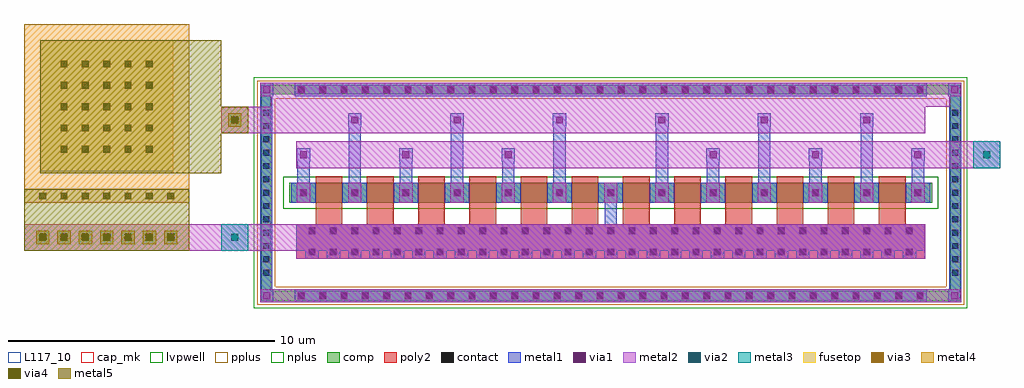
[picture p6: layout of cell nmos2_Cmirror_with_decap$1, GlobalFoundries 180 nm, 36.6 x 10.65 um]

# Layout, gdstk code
import gdstk
lib = gdstk.Library(unit=1e-6, precision=5e-09)
def R(c, l, rs):  # rectangles x0, y0, x1, y1
    for r in rs: c.add(gdstk.rectangle(r[:2], r[2:], *l))
def A(c, l, x, y, w, h, nx, ny, dx, dy):  # array of equal rectangles
    R(c, l, [(x+i*dx, y+j*dy, x+i*dx+w, y+j*dy+h) for i in range(nx) for j in range(ny)])
def P(c, l, *ps):  # polygons
    for p in ps: c.add(gdstk.Polygon(p, *l))
comp = (22, 0)
poly2 = (30, 0)
pplus = (31, 0)
nplus = (32, 0)
contact = (33, 0)
metal1 = (34, 0)
via1 = (35, 0)
metal2 = (36, 0)
via2 = (38, 0)
via3 = (40, 0)
via4 = (41, 0)
metal3 = (42, 0)
metal4 = (46, 0)
fusetop = (75, 0)
metal5 = (81, 0)
cap_mk = (117, 5)
L117_10 = (117, 10)
lvpwell = (204, 0)

cmirror_interdigitized_2 = lib.new_cell('cmirror_interdigitized$2')
A(cmirror_interdigitized_2, comp, -11.78, -4.045, 0.36, 0.36, 30, 2, 0.8, 7.73)
A(cmirror_interdigitized_2, comp, -13.1, -3.18, 0.36, 0.36, 1, 13, 0, 0.5)
A(cmirror_interdigitized_2, comp, 12.74, -3.18, 0.36, 0.36, 1, 13, 0, 0.5)
R(cmirror_interdigitized_2, comp, [(-11.78,-4.045,11.78,-3.685), (-13.1,-3.18,-12.74,3.18), (12.74,-3.18,13.1,3.18), (-12.05,-0.375,12.05,0.375), (-11.78,3.685,11.78,4.045)])
P(cmirror_interdigitized_2, comp, [(-13.1,-4.045),(-13.1,-3.685),(12.74,-3.685),(12.74,3.685),(-12.74,3.685),(-12.74,-3.685),(-13.1,-3.685),(-13.1,4.045),(13.1,4.045),(13.1,-4.045)])
A(cmirror_interdigitized_2, poly2, -11.38, -2.405, 0.36, 0.36, 29, 2, 0.8, 0.8)
A(cmirror_interdigitized_2, poly2, -11.06, -1.18, 1, 0.565, 12, 1, 1.92, 0)
A(cmirror_interdigitized_2, poly2, -11.06, -0.615, 1, 1.23, 12, 1, 1.92, 0)
R(cmirror_interdigitized_2, poly2, [(-11.8,-2.475,11.8,-1.175)])
P(cmirror_interdigitized_2, pplus, [(-13.26,-4.205),(-13.26,-3.525),(12.58,-3.525),(12.58,3.525),(-12.58,3.525),(-12.58,-3.525),(-13.26,-3.525),(-13.26,4.205),(13.26,4.205),(13.26,-4.205)])
R(cmirror_interdigitized_2, nplus, [(-12.28,-0.605,12.28,0.605)])
A(cmirror_interdigitized_2, contact, -11.71, -3.975, 0.22, 0.22, 30, 2, 0.8, 7.73)
A(cmirror_interdigitized_2, contact, -13.03, -3.11, 0.22, 0.22, 1, 13, 0, 0.5)
A(cmirror_interdigitized_2, contact, 12.81, -3.11, 0.22, 0.22, 1, 13, 0, 0.5)
A(cmirror_interdigitized_2, contact, -11.31, -2.335, 0.22, 0.22, 29, 2, 0.8, 0.8)
A(cmirror_interdigitized_2, contact, -11.63, -0.11, 0.22, 0.22, 13, 1, 1.92, 0)
A(cmirror_interdigitized_2, metal1, -11.85, -4.115, 0.5, 0.5, 30, 2, 0.8, 7.73)
A(cmirror_interdigitized_2, metal1, -13.15, -3.23, 0.46, 0.46, 1, 13, 0, 0.5)
A(cmirror_interdigitized_2, metal1, 12.69, -3.23, 0.46, 0.46, 1, 13, 0, 0.5)
A(cmirror_interdigitized_2, metal1, -11.45, -2.475, 0.5, 0.5, 29, 2, 0.8, 0.8)
A(cmirror_interdigitized_2, metal1, -11.98, -0.375, 0.92, 0.75, 13, 1, 1.92, 0)
A(cmirror_interdigitized_2, metal1, -11.75, -0.23, 0.46, 0.46, 13, 1, 1.92, 0)
A(cmirror_interdigitized_2, metal1, -11.75, 0.375, 0.46, 1.3, 3, 1, 3.84, 0)
A(cmirror_interdigitized_2, metal1, -9.83, 0.375, 0.46, 2.6, 6, 1, 3.84, 0)
A(cmirror_interdigitized_2, metal1, 3.61, 0.375, 0.46, 1.3, 3, 1, 3.84, 0)
A(cmirror_interdigitized_2, metal1, -11.77, 1.175, 0.5, 0.5, 3, 1, 3.84, 0)
A(cmirror_interdigitized_2, metal1, 3.59, 1.175, 0.5, 0.5, 3, 1, 3.84, 0)
A(cmirror_interdigitized_2, metal1, -9.85, 2.475, 0.5, 0.5, 6, 1, 3.84, 0)
R(cmirror_interdigitized_2, metal1, [(-13.15,-4.115,-12.65,-3.615), (-13.15,-4.115,-12.65,-3.615), (-13.15,-4.115,-12.69,-3.685), (-11.85,-4.115,11.85,-3.615), (12.65,-4.115,13.15,-3.615), (12.65,-4.115,13.15,-3.615), (12.69,-4.115,13.15,-3.685), (-13.15,-3.685,-12.69,3.685), (12.69,-3.685,13.15,3.685), (-11.8,-2.175,11.8,-1.175), (-0.23,-1.175,0.23,-0.375), (-11.77,-0.25,-11.27,0.25), (-11.77,-0.25,-11.27,0.25), (-9.85,-0.25,-9.35,0.25), (-9.85,-0.25,-9.35,0.25), (-7.93,-0.25,-7.43,0.25), (-7.93,-0.25,-7.43,0.25), (-6.01,-0.25,-5.51,0.25), (-6.01,-0.25,-5.51,0.25), (-4.09,-0.25,-3.59,0.25), (-4.09,-0.25,-3.59,0.25), (-2.17,-0.25,-1.67,0.25), (-2.17,-0.25,-1.67,0.25), (-0.25,-0.25,0.25,0.25), (-0.25,-0.25,0.25,0.25), (1.67,-0.25,2.17,0.25), (1.67,-0.25,2.17,0.25), (3.59,-0.25,4.09,0.25), (3.59,-0.25,4.09,0.25), (5.51,-0.25,6.01,0.25), (5.51,-0.25,6.01,0.25), (7.43,-0.25,7.93,0.25), (7.43,-0.25,7.93,0.25), (9.35,-0.25,9.85,0.25), (9.35,-0.25,9.85,0.25), (11.27,-0.25,11.77,0.25), (11.27,-0.25,11.77,0.25), (-13.15,3.615,-12.65,4.115), (-13.15,3.615,-12.65,4.115), (-11.85,3.615,11.85,4.115), (12.65,3.615,13.15,4.115), (12.65,3.615,13.15,4.115), (-13.15,3.685,-12.69,4.115), (12.69,3.685,13.15,4.115)])
A(cmirror_interdigitized_2, via1, -11.73, -3.995, 0.26, 0.26, 30, 2, 0.8, 7.73)
A(cmirror_interdigitized_2, via1, -11.33, -2.355, 0.26, 0.26, 29, 2, 0.8, 0.8)
A(cmirror_interdigitized_2, via1, -11.65, -0.13, 0.26, 0.26, 13, 1, 1.92, 0)
A(cmirror_interdigitized_2, via1, -11.65, 1.295, 0.26, 0.26, 3, 1, 3.84, 0)
A(cmirror_interdigitized_2, via1, 3.71, 1.295, 0.26, 0.26, 3, 1, 3.84, 0)
A(cmirror_interdigitized_2, via1, -9.73, 2.595, 0.26, 0.26, 6, 1, 3.84, 0)
R(cmirror_interdigitized_2, via1, [(-13.03,-3.995,-12.77,-3.735), (12.77,-3.995,13.03,-3.735), (-13.03,3.735,-12.77,3.995), (12.77,3.735,13.03,3.995)])
A(cmirror_interdigitized_2, metal2, -11.85, -4.115, 0.5, 0.5, 30, 2, 0.8, 7.73)
A(cmirror_interdigitized_2, metal2, -11.45, -2.475, 0.5, 0.5, 29, 2, 0.8, 0.8)
A(cmirror_interdigitized_2, metal2, -11.77, -0.375, 0.5, 0.75, 13, 1, 1.92, 0)
A(cmirror_interdigitized_2, metal2, -11.77, -0.25, 0.5, 0.5, 13, 1, 1.92, 0)
A(cmirror_interdigitized_2, metal2, -11.77, 1.175, 0.5, 0.5, 3, 1, 3.84, 0)
A(cmirror_interdigitized_2, metal2, 3.59, 1.175, 0.5, 0.5, 3, 1, 3.84, 0)
A(cmirror_interdigitized_2, metal2, -9.85, 2.475, 0.5, 0.5, 6, 1, 3.84, 0)
R(cmirror_interdigitized_2, metal2, [(-13.15,-4.115,-12.65,-3.615), (-13.15,-4.115,-12.65,-3.615), (-13.15,-4.115,-12.74,-3.615), (-12.74,-4.115,12.74,-3.615), (12.65,-4.115,13.15,-3.615), (12.65,-4.115,13.15,-3.615), (12.74,-4.115,13.15,-3.615), (-11.8,-2.475,11.8,-1.175), (-11.8,-2.175,11.8,-1.175), (-11.8,0.925,11.8,1.925), (-11.8,2.225,11.8,3.225), (-12.74,3.225,12.74,4.115), (-13.15,3.615,-12.65,4.115), (-13.15,3.615,-12.65,4.115), (-13.15,3.615,-12.74,4.115), (-12.74,3.615,12.74,4.115), (12.65,3.615,13.15,4.115), (12.65,3.615,13.15,4.115), (12.74,3.615,13.15,4.115)])
R(cmirror_interdigitized_2, lvpwell, [(-13.38,-4.325,13.38,4.325)])

via_array_6f2c13fe_2 = lib.new_cell('via_array_6f2c13fe$2')
R(via_array_6f2c13fe_2, metal2, [(-0.5,-0.5,0.5,0.5), (-0.25,-0.25,0.25,0.25)])
R(via_array_6f2c13fe_2, via2, [(-0.13,-0.13,0.13,0.13)])
R(via_array_6f2c13fe_2, metal3, [(-0.5,-0.5,0.5,0.5), (-0.25,-0.25,0.25,0.25)])

via_array_6f2c13fe_3 = lib.new_cell('via_array_6f2c13fe$3')
R(via_array_6f2c13fe_3, metal2, [(-0.5,-0.5,0.5,0.5), (-0.25,-0.25,0.25,0.25)])
R(via_array_6f2c13fe_3, via2, [(-0.13,-0.13,0.13,0.13)])
R(via_array_6f2c13fe_3, metal3, [(-0.5,-0.5,0.5,0.5), (-0.25,-0.25,0.25,0.25)])

via_array_3a42d9f3_1 = lib.new_cell('via_array_3a42d9f3$1')
R(via_array_3a42d9f3_1, metal2, [(-0.5,-0.5,0.5,0.5), (-0.25,-0.25,0.25,0.25)])
R(via_array_3a42d9f3_1, via2, [(-0.13,-0.13,0.13,0.13)])
R(via_array_3a42d9f3_1, via3, [(-0.13,-0.13,0.13,0.13)])
R(via_array_3a42d9f3_1, via4, [(-0.13,-0.13,0.13,0.13)])
R(via_array_3a42d9f3_1, metal3, [(-0.25,-0.25,0.25,0.25)])
R(via_array_3a42d9f3_1, metal4, [(-0.25,-0.25,0.25,0.25)])
R(via_array_3a42d9f3_1, metal5, [(-0.5,-0.5,0.5,0.5), (-0.25,-0.25,0.25,0.25)])

straight_route_e8dce293_ = lib.new_cell('straight_route_e8dce293$1')
R(straight_route_e8dce293_, metal2, [(-14.6,-2.175,-11.8,-1.175)])

straight_route_c1bb10ef_ = lib.new_cell('straight_route_c1bb10ef$1')
R(straight_route_c1bb10ef_, metal2, [(-11.8,0.925,13.6,1.925)])

straight_route_cb461078_ = lib.new_cell('straight_route_cb461078$1')
R(straight_route_cb461078_, metal2, [(-14.6,2.225,-11.8,3.225)])

unnamed_a3761703 = lib.new_cell('Unnamed_a3761703')
A(unnamed_a3761703, via4, -1.73, -1.73, 0.26, 0.26, 5, 5, 0.8, 0.8)
R(unnamed_a3761703, metal4, [(-3.1,-3.1,3.1,3.1)])
R(unnamed_a3761703, fusetop, [(-2.5,-2.5,2.5,2.5)])
A(unnamed_a3761703, metal5, -1.85, -1.85, 0.5, 0.5, 5, 5, 0.8, 0.8)
R(unnamed_a3761703, metal5, [(-2.5,-2.5,2.5,2.5)])
R(unnamed_a3761703, cap_mk, [(-3.1,-3.1,3.1,3.1)])
R(unnamed_a3761703, L117_10, [(-2.5,-2.5,2.5,-2.4)])

via_array_fa9a2e7a_2 = lib.new_cell('via_array_fa9a2e7a$2')
A(via_array_fa9a2e7a_2, via4, -2.53, -0.13, 0.26, 0.26, 7, 1, 0.8, 0)
A(via_array_fa9a2e7a_2, metal4, -2.65, -0.25, 0.5, 0.5, 7, 1, 0.8, 0)
R(via_array_fa9a2e7a_2, metal4, [(-3.1,-0.25,3.1,0.25)])
A(via_array_fa9a2e7a_2, metal5, -2.65, -0.25, 0.5, 0.5, 7, 1, 0.8, 0)
R(via_array_fa9a2e7a_2, metal5, [(-3.1,-0.25,3.1,0.25)])

straight_route_233ad075_ = lib.new_cell('straight_route_233ad075$1')
R(straight_route_233ad075_, metal5, [(-16.4,0.725,-14.6,5.725)])

l_route_c7f64f7c_1 = lib.new_cell('L_route_c7f64f7c$1')
A(l_route_c7f64f7c_1, metal2, -21.55, -1.925, 0.5, 0.5, 7, 1, 0.8, 0)
R(l_route_c7f64f7c_1, metal2, [(-22,-2.175,-14.6,-1.175), (-21.55,-1.925,-16.25,-1.425)])
A(l_route_c7f64f7c_1, via2, -21.43, -1.805, 0.26, 0.26, 7, 1, 0.8, 0)
A(l_route_c7f64f7c_1, via3, -21.43, -1.805, 0.26, 0.26, 7, 1, 0.8, 0)
A(l_route_c7f64f7c_1, via4, -21.43, -1.805, 0.26, 0.26, 7, 1, 0.8, 0)
A(l_route_c7f64f7c_1, metal3, -21.55, -1.925, 0.5, 0.5, 7, 1, 0.8, 0)
A(l_route_c7f64f7c_1, metal4, -21.55, -1.925, 0.5, 0.5, 7, 1, 0.8, 0)
A(l_route_c7f64f7c_1, metal5, -21.55, -1.925, 0.5, 0.5, 7, 1, 0.8, 0)
R(l_route_c7f64f7c_1, metal5, [(-22,-2.175,-15.8,-1.175), (-22,-2.175,-15.8,0.125)])

nmos2_cmirror_with_decap = lib.new_cell('nmos2_Cmirror_with_decap$1')
nmos2_cmirror_with_decap.add(gdstk.Reference(cmirror_interdigitized_2, (0,0)))
nmos2_cmirror_with_decap.add(gdstk.Reference(via_array_6f2c13fe_2, (-14.1,-1.675)))
nmos2_cmirror_with_decap.add(gdstk.Reference(via_array_6f2c13fe_3, (14.1,1.425)))
nmos2_cmirror_with_decap.add(gdstk.Reference(via_array_3a42d9f3_1, (-14.1,2.725)))
nmos2_cmirror_with_decap.add(gdstk.Reference(straight_route_e8dce293_, (0,0)))
nmos2_cmirror_with_decap.add(gdstk.Reference(straight_route_c1bb10ef_, (0,0)))
nmos2_cmirror_with_decap.add(gdstk.Reference(straight_route_cb461078_, (0,0)))
nmos2_cmirror_with_decap.add(gdstk.Reference(unnamed_a3761703, (-18.9,3.225)))
nmos2_cmirror_with_decap.add(gdstk.Reference(via_array_fa9a2e7a_2, (-18.9,-0.125)))
nmos2_cmirror_with_decap.add(gdstk.Reference(straight_route_233ad075_, (0,0)))
nmos2_cmirror_with_decap.add(gdstk.Reference(l_route_c7f64f7c_1, (0,0)))

lib.write_gds('nmos2_Cmirror_with_decap_1.gds')
